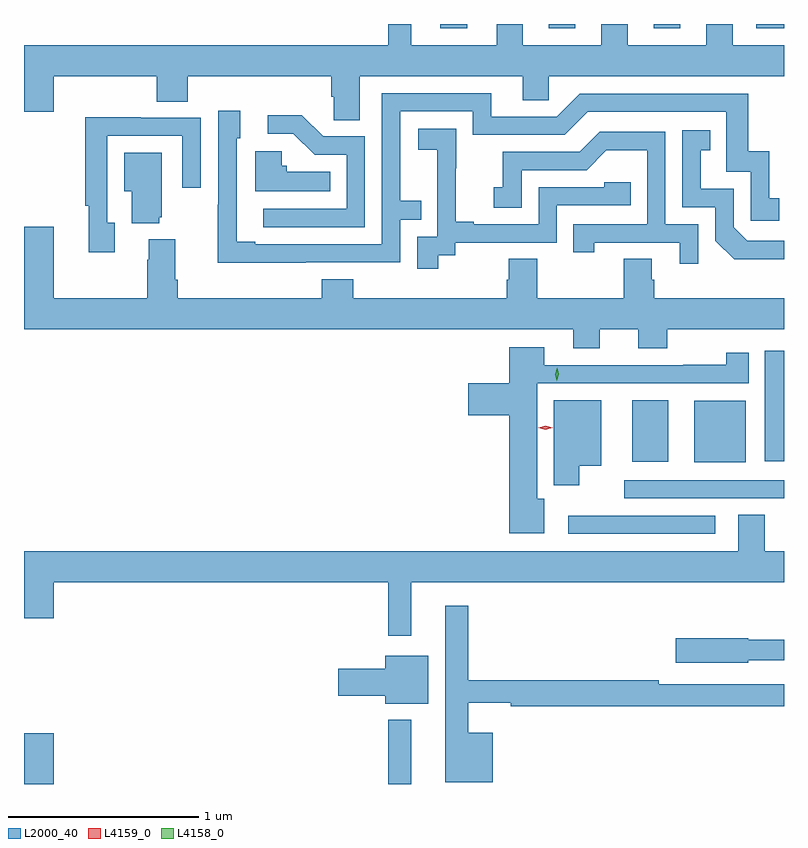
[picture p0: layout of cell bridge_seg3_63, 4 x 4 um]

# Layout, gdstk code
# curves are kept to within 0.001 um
import gdstk
lib = gdstk.Library(unit=1e-6, precision=1e-09)
def R(c, l, rs):  # rectangles x0, y0, x1, y1
    for r in rs: c.add(gdstk.rectangle(r[:2], r[2:], *l))
def P(c, l, *ps):  # polygons
    for p in ps: c.add(gdstk.Polygon(p, *l))
L2000_40 = (2000, 40)
L4158_0 = (4158, 0)
L4159_0 = (4159, 0)

bridge_seg3_63 = lib.new_cell('bridge_seg3_63')
R(bridge_seg3_63, L2000_40, [(500.679,703.851,500.836,704.119), (502.596,703.851,502.717,704.188), (503.544,705.168,504.316,705.264), (503.838,705.354,504.679,705.45), (504.206,705.545,504.478,705.868), (503.879,705.548,504.07,705.871), (504.578,705.551,504.679,706.132), (502.871,707.829,503.011,707.851), (503.441,707.829,503.581,707.851), (503.993,707.829,504.133,707.851), (504.533,707.829,504.679,707.851)])
P(bridge_seg3_63, L2000_40, [(502.447,707.576),(503.303,707.576),(503.303,707.449),(503.442,707.449),(503.442,707.576),(504.679,707.576),(504.679,707.74),(504.409,707.74),(504.409,707.851),(504.269,707.851),(504.269,707.74),(503.857,707.74),(503.857,707.851),(503.717,707.851),(503.717,707.74),(503.305,707.74),(503.305,707.851),(503.166,707.851),(503.166,707.74),(502.717,707.74),(502.717,707.851),(502.596,707.851),(502.596,707.74),(500.679,707.74),(500.679,707.388),(500.836,707.388),(500.836,707.576),(501.377,707.576),(501.377,707.443),(501.542,707.443),(501.542,707.576),(502.295,707.576),(502.295,707.467),(502.308,707.467),(502.308,707.344),(502.447,707.344)],
  [(502.163,706.596),(502.659,706.596),(502.659,706.821),(502.769,706.821),(502.769,706.922),(502.659,706.922),(502.659,707.391),(503.04,707.391),(503.04,707.268),(503.526,707.268),(503.646,707.388),(504.375,707.388),(504.375,707.073),(504.504,707.073),(504.504,706.815),(504.655,706.815),(504.655,706.935),(504.602,706.935),(504.602,707.182),(504.491,707.182),(504.491,707.484),(503.604,707.484),(503.484,707.364),(503.137,707.364),(503.137,707.487),(502.563,707.487),(502.563,706.692),(501.895,706.692),(501.895,706.705),(501.798,706.705),(501.798,707.25),(501.817,707.25),(501.817,707.395),(501.702,707.395),(501.702,706.901),(501.7,706.901),(501.7,706.595)],
  [(502.473,707.259),(502.254,707.259),(502.141,707.372),(501.963,707.372),(501.963,707.274),(502.097,707.274),(502.208,707.163),(502.377,707.163),(502.377,706.878),(501.939,706.878),(501.939,706.782),(502.473,706.782)],
  [(501.157,706.806),(501.117,706.806),(501.117,707.262),(501.513,707.262),(501.513,706.989),(501.609,706.989),(501.609,707.358),(501.293,707.358),(501.293,707.36),(501.001,707.36),(501.001,706.894),(501.02,706.894),(501.02,706.65),(501.157,706.65)],
  [(502.858,706.633),(502.95,706.633),(502.95,706.701),(503.484,706.701),(503.484,706.896),(503.873,706.896),(503.873,707.019),(503.733,707.019),(503.733,706.992),(503.388,706.992),(503.388,706.797),(503.047,706.797),(503.047,706.81),(502.952,706.81),(502.952,707.093),(502.953,707.093),(502.953,707.299),(502.755,707.299),(502.755,707.189),(502.853,707.189),(502.853,706.961),(502.854,706.961),(502.854,706.731),(502.749,706.731),(502.749,706.563),(502.858,706.563)],
  [(504.679,706.71),(504.486,706.71),(504.414,706.782),(504.414,706.983),(504.241,706.983),(504.241,707.187),(504.29,707.187),(504.29,707.293),(504.144,707.293),(504.144,706.887),(504.318,706.887),(504.318,706.71),(504.416,706.613),(504.679,706.613)],
  [(504.228,706.797),(504.054,706.797),(504.054,707.283),(503.708,707.283),(503.603,707.178),(503.2,707.178),(503.2,706.993),(503.151,706.993),(503.151,706.884),(503.298,706.884),(503.298,707.082),(503.64,707.082),(503.744,707.186),(503.958,707.186),(503.958,706.797),(503.569,706.797),(503.569,706.65),(503.68,706.65),(503.68,706.701),(504.131,706.701),(504.131,706.59),(504.228,706.59)],
  [(502.292,707.074),(502.062,707.074),(502.062,707.106),(502.035,707.106),(502.035,707.182),(501.896,707.182),(501.896,706.97),(502.292,706.97)],
  [(501.392,706.833),(501.403,706.833),(501.403,707.173),(501.206,707.173),(501.206,706.97),(501.245,706.97),(501.245,706.802),(501.392,706.802)],
  [(503.71,706.244),(503.912,706.244),(503.912,706.145),(504.065,706.145),(504.065,706.244),(504.679,706.244),(504.679,706.408),(503.996,706.408),(503.996,706.506),(503.983,706.506),(503.983,706.616),(503.836,706.616),(503.836,706.408),(503.379,706.408),(503.379,706.616),(503.231,706.616),(503.231,706.506),(503.219,706.506),(503.219,706.408),(502.412,706.408),(502.412,706.507),(502.247,706.507),(502.247,706.408),(501.488,706.408),(501.488,706.504),(501.475,706.504),(501.475,706.717),(501.335,706.717),(501.335,706.61),(501.328,706.61),(501.328,706.408),(500.836,706.408),(500.836,706.783),(500.679,706.783),(500.679,706.244),(503.57,706.244),(503.57,706.145),(503.71,706.145)],
  [(503.416,705.352),(503.38,705.352),(503.38,705.96),(504.493,705.96),(504.493,706.12),(504.376,706.12),(504.376,706.058),(504.148,706.058),(504.148,706.056),(503.416,706.056),(503.416,706.15),(503.234,706.15),(503.234,705.961),(503.016,705.961),(503.016,705.791),(503.234,705.791),(503.234,705.17),(503.416,705.17)],
  [(503.602,705.527),(503.716,705.527),(503.716,705.871),(503.468,705.871),(503.468,705.423),(503.602,705.423)],
  [(502.717,704.912),(504.679,704.912),(504.679,705.076),(504.577,705.076),(504.577,705.269),(504.437,705.269),(504.437,705.076),(500.679,705.076),(500.679,704.724),(500.836,704.724),(500.836,704.912),(502.596,704.912),(502.596,704.631),(502.717,704.631)],
  [(503.146,704.122),(503.017,704.122),(503.017,704.279),(503.242,704.279),(503.242,704.26),(504.679,704.26),(504.679,704.376),(504.02,704.376),(504.02,704.396),(503.017,704.396),(503.017,704.788),(502.895,704.788),(502.895,703.859),(503.146,703.859)],
  [(504.492,704.502),(504.679,704.502),(504.679,704.611),(504.492,704.611),(504.492,704.619),(504.108,704.619),(504.108,704.489),(504.492,704.489)],
  [(502.807,704.527),(502.58,704.527),(502.58,704.457),(502.332,704.457),(502.332,704.315),(502.58,704.315),(502.58,704.273),(502.807,704.273)])
P(bridge_seg3_63, L4158_0, [(503.483,705.973),(503.483,705.973),(503.474,706.008),(503.486,706.042),(503.486,706.042),(503.486,706.042),(503.494,706.007),(503.483,705.973)])
P(bridge_seg3_63, L4159_0, [(503.423,705.716),(503.386,705.727),(503.385,705.727),(503.386,705.727),(503.424,705.736),(503.461,705.726),(503.461,705.726),(503.461,705.726)])

lib.write_gds('bridge_seg3_63.gds')
